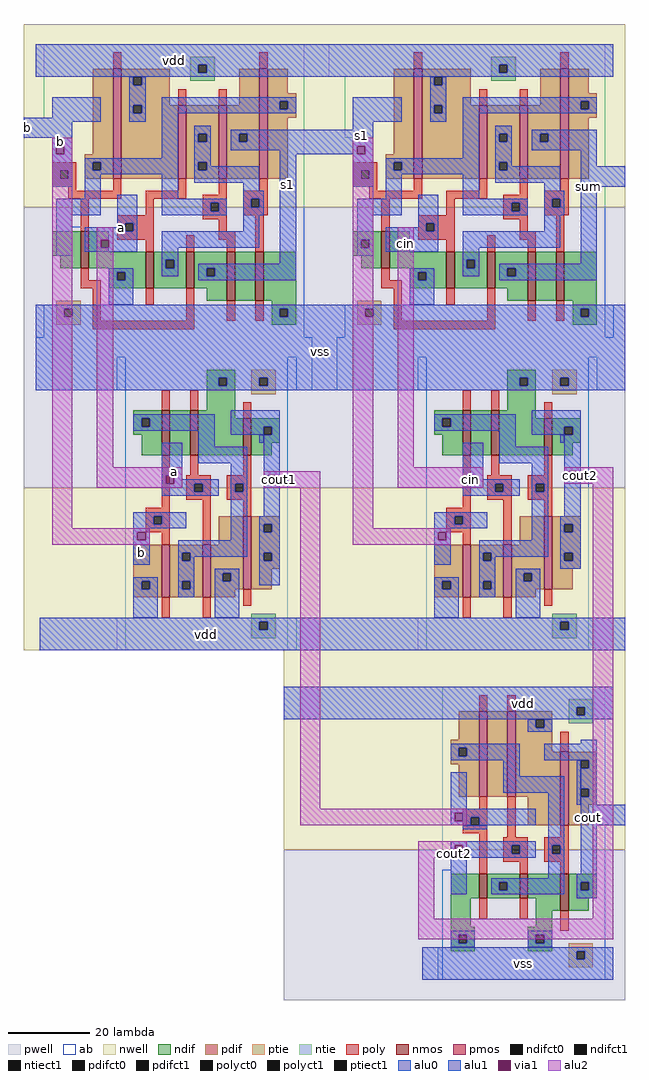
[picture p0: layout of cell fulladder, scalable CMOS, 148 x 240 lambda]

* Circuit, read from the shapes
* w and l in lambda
.subckt fulladder a b cin cout cout1 cout2 s1 sum vdd vss
M1 vss b n1 vss nfet w=9 l=2
M2 n2 a vss vss nfet w=9 l=2
M3 n3 b n4 vss nfet w=11 l=2
M4 s1 b n2 vss nfet w=9 l=2
M5 vss a n3 vss nfet w=11 l=2
M6 n5 n6 s1 vss nfet w=12 l=2
M7 cout1 n4 vss vss nfet w=9 l=2
M8 vss n2 n5 vss nfet w=12 l=2
M9 vss s1 n7 vss nfet w=9 l=2
M10 n8 cin vss vss nfet w=9 l=2
M11 n9 s1 n10 vss nfet w=11 l=2
M12 n11 cout1 vss vss nfet w=6 l=2
M13 sum s1 n8 vss nfet w=9 l=2
M14 vss cin n9 vss nfet w=11 l=2
M15 vss cout2 n11 vss nfet w=6 l=2
M16 n12 n7 sum vss nfet w=12 l=2
M17 cout2 n10 vss vss nfet w=9 l=2
M18 vss n8 n12 vss nfet w=12 l=2
M19 cout n11 vss vss nfet w=9 l=2
M20 vdd b n6 vdd pfet w=27 l=2
M21 n4 b vdd vdd pfet w=13 l=2
M22 n2 a vdd vdd pfet w=18 l=2
M23 vdd a n4 vdd pfet w=13 l=2
M24 s1 n6 n2 vdd pfet w=18 l=2
M25 cout1 n4 vdd vdd pfet w=18 l=2
M26 n6 n2 s1 vdd pfet w=27 l=2
M27 vdd s1 n7 vdd pfet w=27 l=2
M28 n10 s1 vdd vdd pfet w=13 l=2
M29 n13 cout1 n11 vdd pfet w=21 l=2
M30 n8 cin vdd vdd pfet w=18 l=2
M31 vdd cin n10 vdd pfet w=13 l=2
M32 vdd cout2 n13 vdd pfet w=21 l=2
M33 sum n7 n8 vdd pfet w=18 l=2
M34 cout2 n10 vdd vdd pfet w=18 l=2
M35 cout n11 vdd vdd pfet w=18 l=2
M36 n7 n8 sum vdd pfet w=27 l=2
.ends

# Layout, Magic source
magic
tech scmos
<< ab >>
rect 4 136 68 154
rect 74 146 142 154
rect -1 131 68 136
rect 78 131 142 146
rect 6 109 68 131
rect 6 108 11 109
rect 13 108 68 109
rect 6 90 68 108
rect 80 124 142 131
rect 80 119 147 124
rect 80 90 142 119
rect 4 82 68 90
rect 78 82 142 90
rect 144 82 147 90
rect 2 77 70 82
rect 2 69 22 77
rect 3 5 22 13
rect 24 5 64 77
rect 66 69 70 77
rect 76 77 147 82
rect 76 69 96 77
rect 66 5 96 13
rect 98 5 138 77
rect 140 69 147 77
rect 102 -33 142 -4
rect 102 -38 147 -33
rect 102 -45 142 -38
rect 104 -49 142 -45
rect 97 -76 101 -68
rect 102 -76 142 -49
<< nwell >>
rect -1 114 147 159
rect -1 5 147 45
rect 63 -44 147 5
<< pwell >>
rect -1 45 147 114
rect 63 -81 147 -44
<< poly >>
rect 21 148 23 152
rect 6 123 12 125
rect 6 121 8 123
rect 10 121 12 123
rect 57 148 59 152
rect 95 148 97 152
rect 37 139 39 143
rect 47 139 49 143
rect 80 123 86 125
rect 80 121 82 123
rect 84 121 86 123
rect 131 148 133 152
rect 111 139 113 143
rect 121 139 123 143
rect 6 119 12 121
rect 10 118 12 119
rect 21 118 23 121
rect 37 118 39 121
rect 10 116 23 118
rect 29 116 39 118
rect 47 117 49 121
rect 57 118 59 121
rect 80 119 86 121
rect 13 108 15 116
rect 29 112 31 116
rect 22 110 31 112
rect 43 115 49 117
rect 43 113 45 115
rect 47 113 49 115
rect 43 111 49 113
rect 53 116 59 118
rect 84 118 86 119
rect 95 118 97 121
rect 111 118 113 121
rect 84 116 97 118
rect 103 116 113 118
rect 121 117 123 121
rect 131 118 133 121
rect 53 114 55 116
rect 57 114 59 116
rect 53 112 59 114
rect 22 108 24 110
rect 26 108 31 110
rect 22 106 31 108
rect 47 108 49 111
rect 29 103 31 106
rect 39 103 41 107
rect 47 106 51 108
rect 49 103 51 106
rect 56 103 58 112
rect 87 108 89 116
rect 103 112 105 116
rect 96 110 105 112
rect 117 115 123 117
rect 117 113 119 115
rect 121 113 123 115
rect 117 111 123 113
rect 127 116 133 118
rect 127 114 129 116
rect 131 114 133 116
rect 127 112 133 114
rect 96 108 98 110
rect 100 108 105 110
rect 13 96 15 99
rect 13 94 18 96
rect 16 86 18 94
rect 29 90 31 94
rect 39 86 41 94
rect 96 106 105 108
rect 121 108 123 111
rect 103 103 105 106
rect 113 103 115 107
rect 121 106 125 108
rect 123 103 125 106
rect 130 103 132 112
rect 87 96 89 99
rect 87 94 92 96
rect 49 86 51 91
rect 56 86 58 91
rect 16 84 41 86
rect 90 86 92 94
rect 103 90 105 94
rect 113 86 115 94
rect 123 86 125 91
rect 130 86 132 91
rect 90 84 115 86
rect 33 64 35 69
rect 40 64 42 69
rect 53 62 55 66
rect 107 64 109 69
rect 114 64 116 69
rect 127 62 129 66
rect 33 40 35 53
rect 40 48 42 53
rect 53 48 55 53
rect 39 46 45 48
rect 39 44 41 46
rect 43 44 45 46
rect 39 42 45 44
rect 49 46 55 48
rect 49 44 51 46
rect 53 44 55 46
rect 49 42 55 44
rect 29 38 35 40
rect 29 36 31 38
rect 33 36 35 38
rect 29 34 35 36
rect 33 31 35 34
rect 43 31 45 42
rect 53 38 55 42
rect 107 40 109 53
rect 114 48 116 53
rect 127 48 129 53
rect 113 46 119 48
rect 113 44 115 46
rect 117 44 119 46
rect 113 42 119 44
rect 123 46 129 48
rect 123 44 125 46
rect 127 44 129 46
rect 123 42 129 44
rect 103 38 109 40
rect 103 36 105 38
rect 107 36 109 38
rect 103 34 109 36
rect 107 31 109 34
rect 117 31 119 42
rect 127 38 129 42
rect 33 13 35 18
rect 43 13 45 18
rect 53 16 55 20
rect 107 13 109 18
rect 117 13 119 18
rect 127 16 129 20
rect 111 -10 113 -6
rect 118 -10 120 -6
rect 131 -20 133 -15
rect 111 -34 113 -31
rect 107 -36 113 -34
rect 107 -38 109 -36
rect 111 -38 113 -36
rect 107 -40 113 -38
rect 111 -50 113 -40
rect 118 -41 120 -31
rect 131 -41 133 -38
rect 117 -43 123 -41
rect 117 -45 119 -43
rect 121 -45 123 -43
rect 117 -47 123 -45
rect 127 -43 133 -41
rect 127 -45 129 -43
rect 131 -45 133 -43
rect 127 -47 133 -45
rect 121 -50 123 -47
rect 131 -50 133 -47
rect 111 -61 113 -56
rect 121 -61 123 -56
rect 131 -64 133 -59
<< ndif >>
rect 6 102 13 108
rect 8 99 13 102
rect 15 103 20 108
rect 80 106 87 108
rect 80 104 82 106
rect 84 104 87 106
rect 15 99 29 103
rect 20 98 29 99
rect 20 96 22 98
rect 24 96 29 98
rect 20 94 29 96
rect 31 101 39 103
rect 31 99 34 101
rect 36 99 39 101
rect 31 94 39 99
rect 41 99 49 103
rect 41 97 44 99
rect 46 97 49 99
rect 41 94 49 97
rect 44 91 49 94
rect 51 91 56 103
rect 58 91 66 103
rect 80 102 87 104
rect 82 99 87 102
rect 89 103 94 108
rect 89 99 103 103
rect 94 98 103 99
rect 94 96 96 98
rect 98 96 103 98
rect 94 94 103 96
rect 105 101 113 103
rect 105 99 108 101
rect 110 99 113 101
rect 105 94 113 99
rect 115 99 123 103
rect 115 97 118 99
rect 120 97 123 99
rect 115 94 123 97
rect 60 89 66 91
rect 60 87 62 89
rect 64 87 66 89
rect 60 85 66 87
rect 118 91 123 94
rect 125 91 130 103
rect 132 91 140 103
rect 134 89 140 91
rect 134 87 136 89
rect 138 87 140 89
rect 134 85 140 87
rect 44 72 51 74
rect 44 70 47 72
rect 49 70 51 72
rect 44 64 51 70
rect 118 72 125 74
rect 118 70 121 72
rect 123 70 125 72
rect 26 62 33 64
rect 26 60 28 62
rect 30 60 33 62
rect 26 58 33 60
rect 28 53 33 58
rect 35 53 40 64
rect 42 62 51 64
rect 118 64 125 70
rect 100 62 107 64
rect 42 53 53 62
rect 55 60 62 62
rect 55 58 58 60
rect 60 58 62 60
rect 100 60 102 62
rect 104 60 107 62
rect 100 58 107 60
rect 55 56 62 58
rect 55 53 60 56
rect 102 53 107 58
rect 109 53 114 64
rect 116 62 125 64
rect 116 53 127 62
rect 129 60 136 62
rect 129 58 132 60
rect 134 58 136 60
rect 129 56 136 58
rect 129 53 134 56
rect 104 -56 111 -50
rect 113 -52 121 -50
rect 113 -54 116 -52
rect 118 -54 121 -52
rect 113 -56 121 -54
rect 123 -56 131 -50
rect 104 -63 109 -56
rect 125 -59 131 -56
rect 133 -52 140 -50
rect 133 -54 136 -52
rect 138 -54 140 -52
rect 133 -56 140 -54
rect 133 -59 138 -56
rect 125 -63 129 -59
rect 104 -65 110 -63
rect 104 -67 106 -65
rect 108 -67 110 -65
rect 104 -69 110 -67
rect 123 -65 129 -63
rect 123 -67 125 -65
rect 127 -67 129 -65
rect 123 -69 129 -67
<< pdif >>
rect 16 127 21 148
rect 14 125 21 127
rect 14 123 16 125
rect 18 123 21 125
rect 14 121 21 123
rect 23 146 35 148
rect 23 144 26 146
rect 28 144 35 146
rect 23 139 35 144
rect 52 139 57 148
rect 23 137 26 139
rect 28 137 37 139
rect 23 121 37 137
rect 39 132 47 139
rect 39 130 42 132
rect 44 130 47 132
rect 39 125 47 130
rect 39 123 42 125
rect 44 123 47 125
rect 39 121 47 123
rect 49 132 57 139
rect 49 130 52 132
rect 54 130 57 132
rect 49 121 57 130
rect 59 142 64 148
rect 59 140 66 142
rect 59 138 62 140
rect 64 138 66 140
rect 59 136 66 138
rect 59 121 64 136
rect 90 127 95 148
rect 88 125 95 127
rect 88 123 90 125
rect 92 123 95 125
rect 88 121 95 123
rect 97 146 109 148
rect 97 144 100 146
rect 102 144 109 146
rect 97 139 109 144
rect 126 139 131 148
rect 97 137 100 139
rect 102 137 111 139
rect 97 121 111 137
rect 113 132 121 139
rect 113 130 116 132
rect 118 130 121 132
rect 113 125 121 130
rect 113 123 116 125
rect 118 123 121 125
rect 113 121 121 123
rect 123 132 131 139
rect 123 130 126 132
rect 128 130 131 132
rect 123 121 131 130
rect 133 142 138 148
rect 133 140 140 142
rect 133 138 136 140
rect 138 138 140 140
rect 133 136 140 138
rect 133 121 138 136
rect 47 31 53 38
rect 26 22 33 31
rect 26 20 28 22
rect 30 20 33 22
rect 26 18 33 20
rect 35 29 43 31
rect 35 27 38 29
rect 40 27 43 29
rect 35 22 43 27
rect 35 20 38 22
rect 40 20 43 22
rect 35 18 43 20
rect 45 24 53 31
rect 45 22 48 24
rect 50 22 53 24
rect 45 20 53 22
rect 55 36 62 38
rect 55 34 58 36
rect 60 34 62 36
rect 55 29 62 34
rect 121 31 127 38
rect 55 27 58 29
rect 60 27 62 29
rect 55 25 62 27
rect 55 20 60 25
rect 100 22 107 31
rect 100 20 102 22
rect 104 20 107 22
rect 45 18 51 20
rect 100 18 107 20
rect 109 29 117 31
rect 109 27 112 29
rect 114 27 117 29
rect 109 22 117 27
rect 109 20 112 22
rect 114 20 117 22
rect 109 18 117 20
rect 119 24 127 31
rect 119 22 122 24
rect 124 22 127 24
rect 119 20 127 22
rect 129 36 136 38
rect 129 34 132 36
rect 134 34 136 36
rect 129 29 136 34
rect 129 27 132 29
rect 134 27 136 29
rect 129 25 136 27
rect 129 20 134 25
rect 119 18 125 20
rect 106 -17 111 -10
rect 104 -19 111 -17
rect 104 -21 106 -19
rect 108 -21 111 -19
rect 104 -23 111 -21
rect 106 -31 111 -23
rect 113 -31 118 -10
rect 120 -12 129 -10
rect 120 -14 125 -12
rect 127 -14 129 -12
rect 120 -20 129 -14
rect 120 -31 131 -20
rect 123 -38 131 -31
rect 133 -22 140 -20
rect 133 -24 136 -22
rect 138 -24 140 -22
rect 133 -29 140 -24
rect 133 -31 136 -29
rect 138 -31 140 -29
rect 133 -33 140 -31
rect 133 -38 138 -33
<< alu1 >>
rect 2 149 144 154
rect 2 147 42 149
rect 44 147 116 149
rect 118 147 144 149
rect 2 146 144 147
rect 6 136 18 141
rect -1 135 18 136
rect -1 131 11 135
rect 6 129 11 131
rect 6 127 7 129
rect 9 127 11 129
rect 6 123 11 127
rect 80 135 92 141
rect 6 121 8 123
rect 10 121 11 123
rect 6 119 11 121
rect 22 110 27 117
rect 80 133 85 135
rect 50 132 85 133
rect 50 130 52 132
rect 54 130 85 132
rect 50 129 85 130
rect 50 128 81 129
rect 62 127 81 128
rect 83 127 85 129
rect 22 109 24 110
rect 14 108 24 109
rect 26 108 27 110
rect 14 106 27 108
rect 14 104 18 106
rect 20 104 27 106
rect 14 103 27 104
rect 62 100 66 127
rect 80 123 85 127
rect 80 121 82 123
rect 84 121 85 123
rect 80 119 85 121
rect 96 110 101 117
rect 124 132 140 133
rect 124 130 126 132
rect 128 130 140 132
rect 124 128 140 130
rect 136 124 140 128
rect 136 119 147 124
rect 96 109 98 110
rect 88 108 98 109
rect 100 108 101 110
rect 88 106 101 108
rect 88 104 92 106
rect 94 104 101 106
rect 88 103 101 104
rect 42 99 66 100
rect 136 100 140 119
rect 42 97 44 99
rect 46 97 66 99
rect 42 96 66 97
rect 116 99 140 100
rect 116 97 118 99
rect 120 97 140 99
rect 116 96 140 97
rect 2 89 147 90
rect 2 87 9 89
rect 11 87 62 89
rect 64 87 83 89
rect 85 87 136 89
rect 138 87 147 89
rect 2 72 147 87
rect 2 70 47 72
rect 49 70 57 72
rect 59 70 121 72
rect 123 70 131 72
rect 133 70 147 72
rect 2 69 147 70
rect 33 48 38 56
rect 50 60 62 64
rect 50 58 58 60
rect 60 58 62 60
rect 33 46 34 48
rect 36 47 38 48
rect 36 46 47 47
rect 33 44 41 46
rect 43 44 47 46
rect 33 43 47 44
rect 26 38 39 39
rect 26 36 31 38
rect 33 36 39 38
rect 26 35 39 36
rect 26 34 30 35
rect 26 32 27 34
rect 29 32 30 34
rect 58 48 62 58
rect 58 46 59 48
rect 61 46 62 48
rect 58 38 62 46
rect 107 48 112 56
rect 124 60 136 64
rect 124 58 132 60
rect 134 58 136 60
rect 107 46 108 48
rect 110 47 112 48
rect 110 46 121 47
rect 107 44 115 46
rect 117 44 121 46
rect 107 43 121 44
rect 26 26 30 32
rect 57 36 62 38
rect 57 34 58 36
rect 60 34 62 36
rect 57 29 62 34
rect 57 27 58 29
rect 60 27 62 29
rect 57 21 62 27
rect 100 38 113 39
rect 100 36 105 38
rect 107 36 113 38
rect 100 35 113 36
rect 100 34 104 35
rect 100 32 101 34
rect 103 32 104 34
rect 132 49 136 58
rect 132 47 133 49
rect 135 47 136 49
rect 132 38 136 47
rect 100 26 104 32
rect 131 36 136 38
rect 131 34 132 36
rect 134 34 136 36
rect 131 29 136 34
rect 131 27 132 29
rect 134 27 136 29
rect 131 25 136 27
rect 3 12 147 13
rect 3 10 57 12
rect 59 10 131 12
rect 133 10 147 12
rect 3 5 147 10
rect 63 -9 144 -4
rect 63 -11 135 -9
rect 137 -11 144 -9
rect 63 -12 144 -11
rect 136 -18 140 -17
rect 127 -22 140 -18
rect 104 -34 108 -25
rect 104 -35 125 -34
rect 104 -37 105 -35
rect 107 -36 125 -35
rect 107 -37 109 -36
rect 104 -38 109 -37
rect 111 -38 125 -36
rect 104 -43 125 -42
rect 104 -45 105 -43
rect 107 -45 119 -43
rect 121 -45 125 -43
rect 104 -46 125 -45
rect 138 -24 140 -22
rect 136 -29 140 -24
rect 138 -31 140 -29
rect 136 -33 140 -31
rect 104 -55 108 -46
rect 136 -38 147 -33
rect 136 -50 140 -38
rect 135 -52 140 -50
rect 135 -54 136 -52
rect 138 -54 140 -52
rect 135 -56 140 -54
rect 97 -69 144 -68
rect 97 -71 135 -69
rect 137 -71 144 -69
rect 97 -76 144 -71
<< alu2 >>
rect 6 129 11 131
rect 6 127 7 129
rect 9 127 11 129
rect 6 35 11 127
rect 80 129 85 131
rect 80 127 81 129
rect 83 127 85 129
rect 17 106 21 109
rect 17 104 18 106
rect 20 104 21 106
rect 17 50 21 104
rect 17 48 38 50
rect 17 46 34 48
rect 36 46 38 48
rect 17 45 38 46
rect 58 48 72 49
rect 58 46 59 48
rect 61 46 72 48
rect 58 45 72 46
rect 6 34 30 35
rect 6 32 27 34
rect 29 32 30 34
rect 6 31 30 32
rect 67 -34 72 45
rect 80 35 85 127
rect 91 106 95 109
rect 91 104 92 106
rect 94 104 95 106
rect 91 50 95 104
rect 91 48 112 50
rect 91 46 108 48
rect 110 46 112 48
rect 132 49 144 50
rect 132 47 133 49
rect 135 47 144 49
rect 132 46 144 47
rect 91 45 112 46
rect 80 34 104 35
rect 80 32 101 34
rect 103 32 104 34
rect 80 31 104 32
rect 67 -35 108 -34
rect 67 -37 105 -35
rect 107 -37 108 -35
rect 67 -38 108 -37
rect 96 -43 108 -42
rect 96 -45 105 -43
rect 107 -45 108 -43
rect 96 -46 108 -45
rect 96 -61 100 -46
rect 139 -61 144 46
rect 96 -66 144 -61
<< ptie >>
rect 7 89 13 91
rect 7 87 9 89
rect 11 87 13 89
rect 7 85 13 87
rect 81 89 87 91
rect 81 87 83 89
rect 85 87 87 89
rect 81 85 87 87
rect 55 72 61 74
rect 55 70 57 72
rect 59 70 61 72
rect 55 68 61 70
rect 129 72 135 74
rect 129 70 131 72
rect 133 70 135 72
rect 129 68 135 70
rect 133 -69 139 -67
rect 133 -71 135 -69
rect 137 -71 139 -69
rect 133 -73 139 -71
<< ntie >>
rect 40 149 46 151
rect 40 147 42 149
rect 44 147 46 149
rect 114 149 120 151
rect 40 145 46 147
rect 114 147 116 149
rect 118 147 120 149
rect 114 145 120 147
rect 55 12 61 14
rect 55 10 57 12
rect 59 10 61 12
rect 55 8 61 10
rect 129 12 135 14
rect 129 10 131 12
rect 133 10 135 12
rect 129 8 135 10
rect 133 -9 139 -7
rect 133 -11 135 -9
rect 137 -11 139 -9
rect 133 -13 139 -11
<< nmos >>
rect 13 99 15 108
rect 29 94 31 103
rect 39 94 41 103
rect 49 91 51 103
rect 56 91 58 103
rect 87 99 89 108
rect 103 94 105 103
rect 113 94 115 103
rect 123 91 125 103
rect 130 91 132 103
rect 33 53 35 64
rect 40 53 42 64
rect 53 53 55 62
rect 107 53 109 64
rect 114 53 116 64
rect 127 53 129 62
rect 111 -56 113 -50
rect 121 -56 123 -50
rect 131 -59 133 -50
<< pmos >>
rect 21 121 23 148
rect 37 121 39 139
rect 47 121 49 139
rect 57 121 59 148
rect 95 121 97 148
rect 111 121 113 139
rect 121 121 123 139
rect 131 121 133 148
rect 33 18 35 31
rect 43 18 45 31
rect 53 20 55 38
rect 107 18 109 31
rect 117 18 119 31
rect 127 20 129 38
rect 111 -31 113 -10
rect 118 -31 120 -10
rect 131 -38 133 -20
<< polyct0 >>
rect 45 113 47 115
rect 55 114 57 116
rect 119 113 121 115
rect 129 114 131 116
rect 51 44 53 46
rect 125 44 127 46
rect 129 -45 131 -43
<< polyct1 >>
rect 8 121 10 123
rect 82 121 84 123
rect 24 108 26 110
rect 98 108 100 110
rect 41 44 43 46
rect 31 36 33 38
rect 115 44 117 46
rect 105 36 107 38
rect 109 -38 111 -36
rect 119 -45 121 -43
<< ndifct0 >>
rect 82 104 84 106
rect 22 96 24 98
rect 34 99 36 101
rect 96 96 98 98
rect 108 99 110 101
rect 28 60 30 62
rect 102 60 104 62
rect 116 -54 118 -52
rect 106 -67 108 -65
rect 125 -67 127 -65
<< ndifct1 >>
rect 44 97 46 99
rect 118 97 120 99
rect 62 87 64 89
rect 136 87 138 89
rect 47 70 49 72
rect 121 70 123 72
rect 58 58 60 60
rect 132 58 134 60
rect 136 -54 138 -52
<< ntiect1 >>
rect 42 147 44 149
rect 116 147 118 149
rect 57 10 59 12
rect 131 10 133 12
rect 135 -11 137 -9
<< ptiect1 >>
rect 9 87 11 89
rect 83 87 85 89
rect 57 70 59 72
rect 131 70 133 72
rect 135 -71 137 -69
<< pdifct0 >>
rect 16 123 18 125
rect 26 144 28 146
rect 26 137 28 139
rect 42 130 44 132
rect 42 123 44 125
rect 62 138 64 140
rect 90 123 92 125
rect 100 144 102 146
rect 100 137 102 139
rect 116 130 118 132
rect 116 123 118 125
rect 136 138 138 140
rect 28 20 30 22
rect 38 27 40 29
rect 38 20 40 22
rect 48 22 50 24
rect 102 20 104 22
rect 112 27 114 29
rect 112 20 114 22
rect 122 22 124 24
rect 106 -21 108 -19
rect 125 -14 127 -12
<< pdifct1 >>
rect 52 130 54 132
rect 126 130 128 132
rect 58 34 60 36
rect 58 27 60 29
rect 132 34 134 36
rect 132 27 134 29
rect 136 -24 138 -22
rect 136 -31 138 -29
<< alu0 >>
rect 25 144 26 146
rect 28 144 29 146
rect 25 139 29 144
rect 99 144 100 146
rect 102 144 103 146
rect 25 137 26 139
rect 28 137 29 139
rect 25 135 29 137
rect 33 140 66 141
rect 33 138 62 140
rect 64 138 66 140
rect 33 137 66 138
rect 33 126 37 137
rect 99 139 103 144
rect 99 137 100 139
rect 102 137 103 139
rect 99 135 103 137
rect 107 140 140 141
rect 107 138 136 140
rect 138 138 140 140
rect 107 137 140 138
rect 14 125 37 126
rect 14 123 16 125
rect 18 123 37 125
rect 14 122 37 123
rect 14 116 18 122
rect 7 112 18 116
rect 7 102 11 112
rect 33 116 37 122
rect 41 132 45 134
rect 41 130 42 132
rect 44 130 45 132
rect 41 125 45 130
rect 41 123 42 125
rect 44 124 45 125
rect 44 123 57 124
rect 41 120 57 123
rect 53 118 57 120
rect 53 116 58 118
rect 33 115 49 116
rect 33 113 45 115
rect 47 113 49 115
rect 33 112 49 113
rect 53 114 55 116
rect 57 114 58 116
rect 53 112 58 114
rect 53 108 57 112
rect 33 104 57 108
rect 33 101 37 104
rect 33 99 34 101
rect 36 99 37 101
rect 107 126 111 137
rect 88 125 111 126
rect 88 123 90 125
rect 92 123 111 125
rect 88 122 111 123
rect 88 116 92 122
rect 81 112 92 116
rect 81 106 85 112
rect 107 116 111 122
rect 115 132 119 134
rect 115 130 116 132
rect 118 130 119 132
rect 115 125 119 130
rect 115 123 116 125
rect 118 124 119 125
rect 118 123 131 124
rect 115 120 131 123
rect 127 118 131 120
rect 127 116 132 118
rect 107 115 123 116
rect 107 113 119 115
rect 121 113 123 115
rect 107 112 123 113
rect 127 114 129 116
rect 131 114 132 116
rect 127 112 132 114
rect 81 104 82 106
rect 84 104 85 106
rect 81 102 85 104
rect 127 108 131 112
rect 107 104 131 108
rect 20 98 26 99
rect 20 96 22 98
rect 24 96 26 98
rect 33 97 37 99
rect 107 101 111 104
rect 107 99 108 101
rect 110 99 111 101
rect 94 98 100 99
rect 94 96 96 98
rect 98 96 100 98
rect 107 97 111 99
rect 20 90 26 96
rect 94 90 100 96
rect 26 62 46 63
rect 26 60 28 62
rect 30 60 46 62
rect 26 59 46 60
rect 42 55 46 59
rect 100 62 120 63
rect 100 60 102 62
rect 104 60 120 62
rect 100 59 120 60
rect 57 56 58 58
rect 42 51 54 55
rect 50 46 54 51
rect 50 44 51 46
rect 53 44 54 46
rect 50 32 54 44
rect 116 55 120 59
rect 131 56 132 58
rect 116 51 128 55
rect 124 46 128 51
rect 124 44 125 46
rect 127 44 128 46
rect 37 29 54 32
rect 37 27 38 29
rect 40 28 54 29
rect 40 27 41 28
rect 26 22 32 23
rect 26 20 28 22
rect 30 20 32 22
rect 26 13 32 20
rect 37 22 41 27
rect 37 20 38 22
rect 40 20 41 22
rect 37 18 41 20
rect 46 24 52 25
rect 46 22 48 24
rect 50 22 52 24
rect 46 13 52 22
rect 124 32 128 44
rect 111 29 128 32
rect 111 27 112 29
rect 114 28 128 29
rect 114 27 115 28
rect 100 22 106 23
rect 100 20 102 22
rect 104 20 106 22
rect 100 13 106 20
rect 111 22 115 27
rect 111 20 112 22
rect 114 20 115 22
rect 111 18 115 20
rect 120 24 126 25
rect 120 22 122 24
rect 124 22 126 24
rect 120 13 126 22
rect 123 -14 125 -12
rect 127 -14 129 -12
rect 123 -15 129 -14
rect 104 -19 121 -18
rect 104 -21 106 -19
rect 108 -21 121 -19
rect 104 -22 121 -21
rect 117 -26 121 -22
rect 117 -30 132 -26
rect 107 -39 113 -38
rect 128 -43 132 -30
rect 135 -33 136 -22
rect 128 -45 129 -43
rect 131 -45 132 -43
rect 128 -51 132 -45
rect 114 -52 132 -51
rect 114 -54 116 -52
rect 118 -54 132 -52
rect 114 -55 132 -54
rect 104 -65 110 -64
rect 104 -67 106 -65
rect 108 -67 110 -65
rect 104 -68 110 -67
rect 123 -65 129 -64
rect 123 -67 125 -65
rect 127 -67 129 -65
rect 123 -68 129 -67
<< via1 >>
rect 7 127 9 129
rect 81 127 83 129
rect 18 104 20 106
rect 92 104 94 106
rect 34 46 36 48
rect 27 32 29 34
rect 59 46 61 48
rect 108 46 110 48
rect 101 32 103 34
rect 133 47 135 49
rect 105 -37 107 -35
rect 105 -45 107 -43
<< labels >>
rlabel alu1 8 130 8 130 6 b
rlabel alu1 36 150 36 150 6 vdd
rlabel alu1 28 29 28 29 2 b
rlabel alu1 44 9 44 9 2 vdd
rlabel alu1 36 49 36 49 2 a
rlabel alu1 138 119 138 119 1 sum
rlabel alu1 64 119 64 120 1 s1
rlabel alu1 82 131 82 132 1 s1
rlabel alu1 122 -72 122 -72 4 vss
rlabel alu1 122 -8 122 -8 4 vdd
rlabel alu1 138 -36 138 -36 5 cout
rlabel alu2 136 46 136 50 1 cout2
rlabel alu2 62 45 62 49 1 cout1
rlabel alu1 140 119 140 123 1 sum
rlabel alu1 140 -38 140 -34 1 cout
rlabel alu1 72 78 72 79 1 vss
rlabel alu1 0 131 0 136 3 b
rlabel alu1 23 109 23 109 1 a
rlabel via1 93 105 93 105 1 cin
rlabel via1 105 -45 105 -45 1 cout2
rlabel via1 109 47 109 47 1 cin
<< end >>
